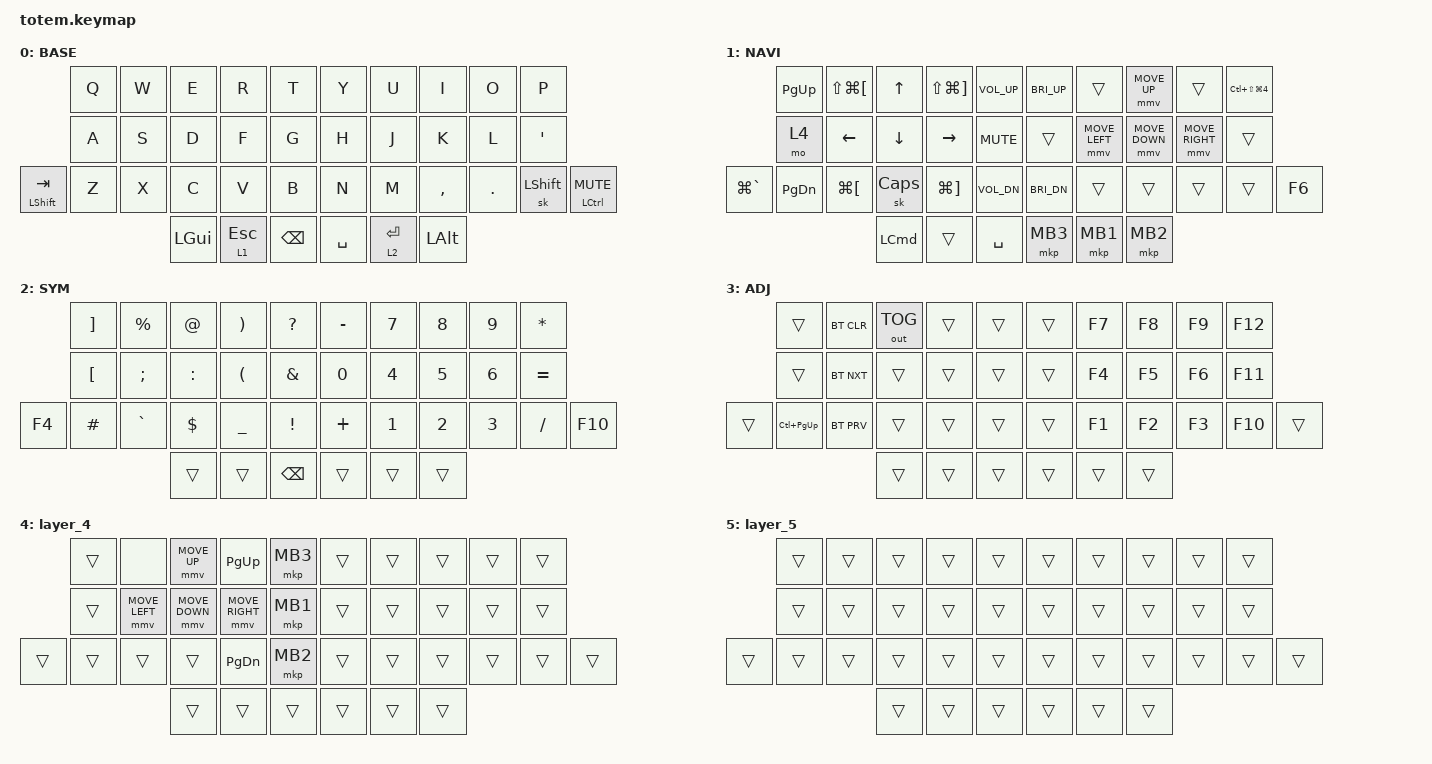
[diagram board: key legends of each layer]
//
//                                                        ▀▀▀▀▀     ▀▀▀▀▀          ▀▀█▀▀
//                                                        ▄▀▀▀▄  ▄  ▄▀▀▀▄  ▄  ▄▀▀▀▄  █  ▄▀▀▀▄
//                                                        █   █  █  █   █  █  █   █  █  █   █
//                                                         ▀▀▀   █   ▀▀▀   █   ▀▀▀   ▀   ▀▀▀
//                                                               █      ▄▄▄█▄▄▄    █   █  
//                                                               ▀      █  █  █     █▄█
//                                                             ▀▀▀▀▀    █  █  █      ▀
//                                                                      ▀  ▀  ▀
//
// ▄▄▄▄▄▄▄▄▄▄▄▄▄▄▄▄▄▄▄▄▄▄▄▄▄▄▄▄▄▄▄▄▄▄▄▄▄▄▄▄▄▄▄▄▄▄▄▄▄▄▄▄▄▄▄▄▄▄▄▄▄▄▄▄▄▄▄▄▄▄▄▄▄▄▄▄▄▄▄▄▄▄▄▄▄▄▄▄▄▄▄▄▄▄▄▄▄▄▄▄▄▄▄▄▄▄▄▄▄▄▄▄▄▄▄▄▄▄▄▄▄▄▄▄▄▄▄▄▄▄▄▄▄▄▄▄▄▄▄▄▄▄▄▄▄▄▄▄▄

#include <behaviors.dtsi>
#include <dt-bindings/zmk/bt.h>
#include <dt-bindings/zmk/keys.h>
#include <dt-bindings/zmk/outputs.h>
#include <dt-bindings/zmk/pointing.h>

#define BASE 0
#define NAV  1
#define SYM  2
#define ADJ  3
#define TVP1 4
#define TVP2 5

/ {
    combos { compatible = "zmk,combos"; };

    keymap {
        compatible = "zmk,keymap";

        // ▄▄▄▄▄▄▄▄▄▄▄▄▄▄▄▄▄▄▄▄▄▄▄▄▄▄▄▄▄▄▄▄▄▄▄▄▄▄▄▄▄▄▄▄▄▄▄▄▄▄▄▄▄▄▄▄▄▄▄▄▄▄▄▄▄▄▄▄▄▄▄▄▄▄▄▄▄▄▄▄▄▄▄▄▄▄▄▄▄▄▄▄▄▄▄▄▄▄▄▄▄▄▄▄▄▄▄▄▄▄▄▄▄▄▄▄▄▄▄▄▄▄▄▄▄▄▄▄▄▄▄▄▄▄▄▄▄▄▄▄▄▄▄▄▄▄▄▄▄

        base_layer {
            // ┏━━━━━━━━━━━━━━━━━━━━━━━━━━━━━━━━━━━━━━━┓

            label = "BASE";

            // ┗━━━━━━━━━━━━━━━━━━━━━━━━━━━━━━━━━━━━━━━┛
            //             ┏━━━━━━━━━━━┳━━━━━━━━━━━┳━━━━━━━━━━━┳━━━━━━━━━━━┳━━━━━━━━━━━┓   ┏━━━━━━━━━━━┳━━━━━━━━━━━┳━━━━━━━━━━━┳━━━━━━━━━━━┳━━━━━━━━━━━┓
            //             ┃     Q     ┃     W     ┃     F     ┃     P     ┃     G     ┃   ┃     J     ┃     L     ┃     U     ┃     Y     ┃     ;     ┃
            //             ┣━━━━━━━━━━━╋━━━━━━━━━━━╋━━━━━━━━━━━╋━━━━━━━━━━━╋━━━━━━━━━━━┫   ┣━━━━━━━━━━━╋━━━━━━━━━━━╋━━━━━━━━━━━╋━━━━━━━━━━━╋━━━━━━━━━━━┫
            //             ┃     A     ┃     R     ┃     S     ┃     T     ┃     D     ┃   ┃     H     ┃     N     ┃     E     ┃     I     ┃     O     ┃
            // ┏━━━━━━━━━━━╋━━━━━━━━━━━╋━━━━━━━━━━━╋━━━━━━━━━━━╋━━━━━━━━━━━╋━━━━━━━━━━━┫   ┣━━━━━━━━━━━╋━━━━━━━━━━━╋━━━━━━━━━━━╋━━━━━━━━━━━╋━━━━━━━━━━━╋━━━━━━━━━━━┓
            // ┃     Q     ┃     Z     ┃     X     ┃     C     ┃     V     ┃     B     ┃   ┃     K     ┃     M     ┃     ,     ┃     .     ┃     /     ┃     \     ┃
            // ┗━━━━━━━━━━━┻━━━━━━━━━━━┻━━━━━━━━━━━╋━━━━━━━━━━━╋━━━━━━━━━━━╋━━━━━━━━━━━┫   ┣━━━━━━━━━━━╋━━━━━━━━━━━╋━━━━━━━━━━━╋━━━━━━━━━━━┻━━━━━━━━━━━┻━━━━━━━━━━━┛
            //                                     ┃    DEL    ┃    TAB    ┃    SPC    ┃   ┃   ENTER   ┃           ┃   BSPC    ┃
            //                                     ┗━━━━━━━━━━━┻━━━━━━━━━━━┻━━━━━━━━━━━┛   ┗━━━━━━━━━━━┻━━━━━━━━━━━┻━━━━━━━━━━━┛

            bindings = <
                    &kp Q  &kp W  &kp E     &kp R         &kp T            &kp Y      &kp U        &kp I         &kp O    &kp P
                    &kp A  &kp S  &kp D     &kp F         &kp G            &kp H      &kp J        &kp K         &kp L    &kp SQT
&mt LEFT_SHIFT TAB  &kp Z  &kp X  &kp C     &kp V         &kp B            &kp N      &kp M        &kp COMMA     &kp DOT  &sk LEFT_SHIFT  &mt LEFT_CONTROL C_MUTE
                                  &kp LGUI  &lt 1 ESCAPE  &kp BACKSPACE    &kp SPACE  &lt 2 ENTER  &kp LEFT_ALT
            >;
        };

        // ▄▄▄▄▄▄▄▄▄▄▄▄▄▄▄▄▄▄▄▄▄▄▄▄▄▄▄▄▄▄▄▄▄▄▄▄▄▄▄▄▄▄▄▄▄▄▄▄▄▄▄▄▄▄▄▄▄▄▄▄▄▄▄▄▄▄▄▄▄▄▄▄▄▄▄▄▄▄▄▄▄▄▄▄▄▄▄▄▄▄▄▄▄▄▄▄▄▄▄▄▄▄▄▄▄▄▄▄▄▄▄▄▄▄▄▄▄▄▄▄▄▄▄▄▄▄▄▄▄▄▄▄▄▄▄▄▄▄▄▄▄▄▄▄▄▄▄▄▄

        lower {
            // ┏━━━━━━━━━━━━━━━━━━━━━━━━━━━━━━━━━━━━━━━┓

            label = "NAVI";

            // ┗━━━━━━━━━━━━━━━━━━━━━━━━━━━━━━━━━━━━━━━┛
            //             ┏━━━━━━━━━━━┳━━━━━━━━━━━┳━━━━━━━━━━━┳━━━━━━━━━━━┳━━━━━━━━━━━┓   ┏━━━━━━━━━━━┳━━━━━━━━━━━┳━━━━━━━━━━━┳━━━━━━━━━━━┳━━━━━━━━━━━┓
            //             ┃           ┃           ┃     UP    ┃           ┃     {     ┃   ┃     }     ┃     7     ┃     8     ┃     9     ┃     +     ┃
            //             ┣━━━━━━━━━━━╋━━━━━━━━━━━╋━━━━━━━━━━━╋━━━━━━━━━━━╋━━━━━━━━━━━┫   ┣━━━━━━━━━━━╋━━━━━━━━━━━╋━━━━━━━━━━━╋━━━━━━━━━━━╋━━━━━━━━━━━┫
            //             ┃   SHIFT   ┃   LEFT    ┃    DOWN   ┃   RIGHT   ┃     [     ┃   ┃     ]     ┃     4     ┃     5     ┃     6     ┃     -     ┃
            // ┏━━━━━━━━━━━╋━━━━━━━━━━━╋━━━━━━━━━━━╋━━━━━━━━━━━╋━━━━━━━━━━━╋━━━━━━━━━━━┫   ┣━━━━━━━━━━━╋━━━━━━━━━━━╋━━━━━━━━━━━╋━━━━━━━━━━━╋━━━━━━━━━━━╋━━━━━━━━━━━┓
            // ┃           ┃           ┃   P UP    ┃  C LOCK   ┃  P DOWN   ┃     (     ┃   ┃     )     ┃     1     ┃     2     ┃     3     ┃     *     ┃           ┃
            // ┗━━━━━━━━━━━┻━━━━━━━━━━━┻━━━━━━━━━━━╋━━━━━━━━━━━╋━━━━━━━━━━━╋━━━━━━━━━━━┫   ┣━━━━━━━━━━━╋━━━━━━━━━━━╋━━━━━━━━━━━╋━━━━━━━━━━━┻━━━━━━━━━━━┻━━━━━━━━━━━┛
            //                                     ┃           ┃    TAB    ┃    SPC    ┃   ┃    DEL    ┃     0     ┃           ┃
            //                                     ┗━━━━━━━━━━━┻━━━━━━━━━━━┻━━━━━━━━━━━┛   ┗━━━━━━━━━━━┻━━━━━━━━━━━┻━━━━━━━━━━━┛

            bindings = <
               &kp PAGE_UP    &kp LS(LG(LBKT))  &kp UP            &kp LS(LG(RBKT))  &kp C_VOLUME_UP    &kp C_BRI_UP  &trans          &mmv MOVE_UP    &trans           &kp LC(LS(LG(NUMBER_4)))
               &mo 4          &kp LEFT          &kp DOWN          &kp RIGHT         &kp C_MUTE         &trans        &mmv MOVE_LEFT  &mmv MOVE_DOWN  &mmv MOVE_RIGHT  &trans
&kp LG(GRAVE)  &kp PAGE_DOWN  &kp LG(LBKT)      &sk CAPS          &kp LG(RBKT)      &kp C_VOL_DN       &kp C_BRI_DN  &trans          &trans          &trans           &trans                    &kp F6
                                                &kp LEFT_COMMAND  &trans            &kp SPACE          &mkp MB3      &mkp MB1        &mkp MB2
            >;
        };

        // ▄▄▄▄▄▄▄▄▄▄▄▄▄▄▄▄▄▄▄▄▄▄▄▄▄▄▄▄▄▄▄▄▄▄▄▄▄▄▄▄▄▄▄▄▄▄▄▄▄▄▄▄▄▄▄▄▄▄▄▄▄▄▄▄▄▄▄▄▄▄▄▄▄▄▄▄▄▄▄▄▄▄▄▄▄▄▄▄▄▄▄▄▄▄▄▄▄▄▄▄▄▄▄▄▄▄▄▄▄▄▄▄▄▄▄▄▄▄▄▄▄▄▄▄▄▄▄▄▄▄▄▄▄▄▄▄▄▄▄▄▄▄▄▄▄▄▄▄▄

        raise {
            // ┏━━━━━━━━━━━━━━━━━━━━━━━━━━━━━━━━━━━━━━━┓

            label = "SYM";

            // ┗━━━━━━━━━━━━━━━━━━━━━━━━━━━━━━━━━━━━━━━┛
            //             ┏━━━━━━━━━━━┳━━━━━━━━━━━┳━━━━━━━━━━━┳━━━━━━━━━━━┳━━━━━━━━━━━┓   ┏━━━━━━━━━━━┳━━━━━━━━━━━┳━━━━━━━━━━━┳━━━━━━━━━━━┳━━━━━━━━━━━┓
            //             ┃     !     ┃     @     ┃     #     ┃     $     ┃     %     ┃   ┃     ˆ     ┃     &     ┃     Ü     ┃     '     ┃     "     ┃
            //             ┣━━━━━━━━━━━╋━━━━━━━━━━━╋━━━━━━━━━━━╋━━━━━━━━━━━╋━━━━━━━━━━━┫   ┣━━━━━━━━━━━╋━━━━━━━━━━━╋━━━━━━━━━━━╋━━━━━━━━━━━╋━━━━━━━━━━━┫
            //             ┃     Ä     ┃           ┃    SZ     ┃           ┃           ┃   ┃   MUTE    ┃   YEN     ┃   EURO    ┃  POUND    ┃     Ö     ┃
            // ┏━━━━━━━━━━━╋━━━━━━━━━━━╋━━━━━━━━━━━╋━━━━━━━━━━━╋━━━━━━━━━━━╋━━━━━━━━━━━┫   ┣━━━━━━━━━━━╋━━━━━━━━━━━╋━━━━━━━━━━━╋━━━━━━━━━━━╋━━━━━━━━━━━╋━━━━━━━━━━━┓
            // ┃           ┃  EMAIL1   ┃  EMAIL2   ┃           ┃           ┃           ┃   ┃   VOL-    ┃   VOL+    ┃   LAST    ┃   NEXT    ┃     \     ┃           ┃
            // ┗━━━━━━━━━━━┻━━━━━━━━━━━┻━━━━━━━━━━━╋━━━━━━━━━━━╋━━━━━━━━━━━╋━━━━━━━━━━━┫   ┣━━━━━━━━━━━╋━━━━━━━━━━━╋━━━━━━━━━━━╋━━━━━━━━━━━┻━━━━━━━━━━━┻━━━━━━━━━━━┛
            //                                     ┃           ┃    GIF    ┃    ADJ    ┃   ┃           ┃           ┃           ┃
            //                                     ┗━━━━━━━━━━━┻━━━━━━━━━━━┻━━━━━━━━━━━┛   ┗━━━━━━━━━━━┻━━━━━━━━━━━┻━━━━━━━━━━━┛

            bindings = <
        &kp RIGHT_BRACKET  &kp PERCENT  &kp AT      &kp RIGHT_PARENTHESIS  &kp QUESTION       &kp MINUS  &kp N7        &kp N8        &kp N9        &kp ASTERISK
        &kp LEFT_BRACKET   &kp SEMI     &kp COLON   &kp LEFT_PARENTHESIS   &kp AMPS           &kp N0     &kp NUMBER_4  &kp N5        &kp NUMBER_6  &kp EQUAL
&kp F4  &kp HASH           &kp GRAVE    &kp DOLLAR  &kp UNDER              &kp EXCLAMATION    &kp PLUS   &kp NUMBER_1  &kp NUMBER_2  &kp NUMBER_3  &kp SLASH     &kp F10
                                        &trans      &trans                 &kp BACKSPACE      &trans     &trans        &trans
            >;
        };

        // ▄▄▄▄▄▄▄▄▄▄▄▄▄▄▄▄▄▄▄▄▄▄▄▄▄▄▄▄▄▄▄▄▄▄▄▄▄▄▄▄▄▄▄▄▄▄▄▄▄▄▄▄▄▄▄▄▄▄▄▄▄▄▄▄▄▄▄▄▄▄▄▄▄▄▄▄▄▄▄▄▄▄▄▄▄▄▄▄▄▄▄▄▄▄▄▄▄▄▄▄▄▄▄▄▄▄▄▄▄▄▄▄▄▄▄▄▄▄▄▄▄▄▄▄▄▄▄▄▄▄▄▄▄▄▄▄▄▄▄▄▄▄▄▄▄▄▄▄▄

        adjust_layer {
            // ┏━━━━━━━━━━━━━━━━━━━━━━━━━━━━━━━━━━━━━━━┓

            label = "ADJ";

            // ┗━━━━━━━━━━━━━━━━━━━━━━━━━━━━━━━━━━━━━━━┛
            //             ┏━━━━━━━━━━━┳━━━━━━━━━━━┳━━━━━━━━━━━┳━━━━━━━━━━━┳━━━━━━━━━━━┓   ┏━━━━━━━━━━━┳━━━━━━━━━━━┳━━━━━━━━━━━┳━━━━━━━━━━━┳━━━━━━━━━━━┓
            //             ┃   RESET   ┃ BT CLEAR  ┃  OUT TOG  ┃           ┃           ┃   ┃           ┃    F7     ┃    F8     ┃    F9     ┃    F12    ┃
            //             ┣━━━━━━━━━━━╋━━━━━━━━━━━╋━━━━━━━━━━━╋━━━━━━━━━━━╋━━━━━━━━━━━┫   ┣━━━━━━━━━━━╋━━━━━━━━━━━╋━━━━━━━━━━━╋━━━━━━━━━━━╋━━━━━━━━━━━┫
            //             ┃ BOOTLOAD  ┃ BT NEXT   ┃           ┃           ┃           ┃   ┃           ┃    F4     ┃    F5     ┃    F6     ┃    F11    ┃
            // ┏━━━━━━━━━━━╋━━━━━━━━━━━╋━━━━━━━━━━━╋━━━━━━━━━━━╋━━━━━━━━━━━╋━━━━━━━━━━━┫   ┣━━━━━━━━━━━╋━━━━━━━━━━━╋━━━━━━━━━━━╋━━━━━━━━━━━╋━━━━━━━━━━━╋━━━━━━━━━━━┓
            // ┃           ┃           ┃ BT PREV   ┃           ┃           ┃           ┃   ┃           ┃    F1     ┃    F2     ┃    F3     ┃    F10    ┃           ┃
            // ┗━━━━━━━━━━━┻━━━━━━━━━━━┻━━━━━━━━━━━╋━━━━━━━━━━━╋━━━━━━━━━━━╋━━━━━━━━━━━┫   ┣━━━━━━━━━━━╋━━━━━━━━━━━╋━━━━━━━━━━━╋━━━━━━━━━━━┻━━━━━━━━━━━┻━━━━━━━━━━━┛
            //                                     ┃           ┃           ┃           ┃   ┃           ┃           ┃           ┃
            //                                     ┗━━━━━━━━━━━┻━━━━━━━━━━━┻━━━━━━━━━━━┛   ┗━━━━━━━━━━━┻━━━━━━━━━━━┻━━━━━━━━━━━┛

            bindings = <
        &trans           &bt BT_CLR  &out OUT_TOG  &trans  &trans    &trans  &kp F7  &kp F8  &kp F9  &kp F12
        &trans           &bt BT_NXT  &trans        &trans  &trans    &trans  &kp F4  &kp F5  &kp F6  &kp F11
&trans  &kp LC(PAGE_UP)  &bt BT_PRV  &trans        &trans  &trans    &trans  &kp F1  &kp F2  &kp F3  &kp F10  &trans
                                     &trans        &trans  &trans    &trans  &trans  &trans
            >;
        };

        layer_4 {
            bindings = <
        &trans  &none           &mmv MOVE_UP    &kp PAGE_UP      &mkp MB3    &trans  &trans  &trans  &trans  &trans
        &trans  &mmv MOVE_LEFT  &mmv MOVE_DOWN  &mmv MOVE_RIGHT  &mkp MB1    &trans  &trans  &trans  &trans  &trans
&trans  &trans  &trans          &trans          &kp PAGE_DOWN    &mkp MB2    &trans  &trans  &trans  &trans  &trans  &trans
                                &trans          &trans           &trans      &trans  &trans  &trans
            >;
        };

        layer_5 {
            bindings = <
        &trans  &trans  &trans  &trans  &trans    &trans  &trans  &trans  &trans  &trans
        &trans  &trans  &trans  &trans  &trans    &trans  &trans  &trans  &trans  &trans
&trans  &trans  &trans  &trans  &trans  &trans    &trans  &trans  &trans  &trans  &trans  &trans
                        &trans  &trans  &trans    &trans  &trans  &trans
            >;
        };

        // ▄▄▄▄▄▄▄▄▄▄▄▄▄▄▄▄▄▄▄▄▄▄▄▄▄▄▄▄▄▄▄▄▄▄▄▄▄▄▄▄▄▄▄▄▄▄▄▄▄▄▄▄▄▄▄▄▄▄▄▄▄▄▄▄▄▄▄▄▄▄▄▄▄▄▄▄▄▄▄▄▄▄▄▄▄▄▄▄▄▄▄▄▄▄▄▄▄▄▄▄▄▄▄▄▄▄▄▄▄▄▄▄▄▄▄▄▄▄▄▄▄▄▄▄▄▄▄▄▄▄▄▄▄▄▄▄▄▄▄▄▄▄▄▄▄▄▄▄▄
        // ▄▄▄▄▄▄▄▄▄▄▄▄▄▄▄▄▄▄▄▄▄▄▄▄▄▄▄▄▄▄▄▄▄▄▄▄▄▄▄▄▄▄▄▄▄▄▄▄▄▄▄▄▄▄▄▄▄▄▄▄▄▄▄▄▄▄▄▄▄▄▄▄▄▄▄▄▄▄▄▄▄▄▄▄▄▄▄▄▄▄▄▄▄▄▄▄▄▄▄▄▄▄▄▄▄▄▄▄▄▄▄▄▄▄▄▄▄▄▄▄▄▄▄▄▄▄▄▄▄▄▄▄▄▄▄▄▄▄▄▄▄▄▄▄▄▄▄▄▄
    };

    conditional_layers {
        compatible = "zmk,conditional-layers";

        both {
            if-layers = <1 2>;
            then-layer = <3>;
        };
    };
};
